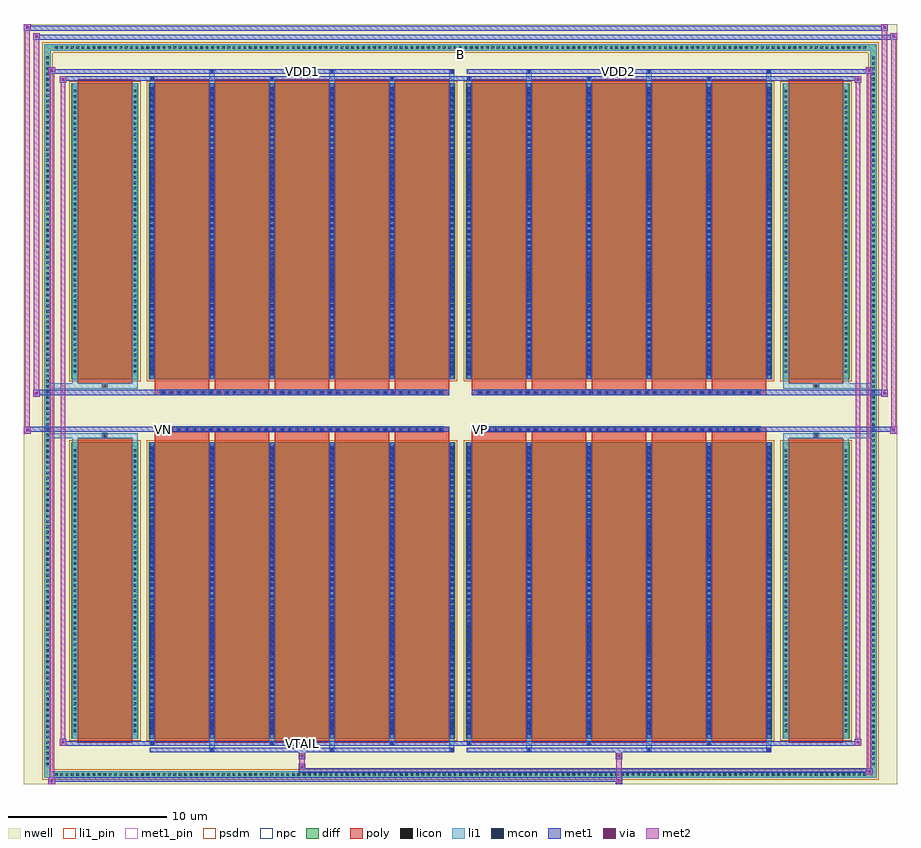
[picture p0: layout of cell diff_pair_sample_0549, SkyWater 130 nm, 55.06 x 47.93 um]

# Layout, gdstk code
import gdstk
lib = gdstk.Library(unit=1e-6, precision=5e-09)
def R(c, l, rs):  # rectangles x0, y0, x1, y1
    for r in rs: c.add(gdstk.rectangle(r[:2], r[2:], *l))
def A(c, l, x, y, w, h, nx, ny, dx, dy):  # array of equal rectangles
    R(c, l, [(x+i*dx, y+j*dy, x+i*dx+w, y+j*dy+h) for i in range(nx) for j in range(ny)])
def P(c, l, *ps):  # polygons
    for p in ps: c.add(gdstk.Polygon(p, *l))
nwell = (64, 20)
diff = (65, 20)
poly = (66, 20)
licon = (66, 44)
li1_pin = (67, 16)
li1 = (67, 20)
mcon = (67, 44)
met1_pin = (68, 16)
met1 = (68, 20)
via = (68, 44)
met2 = (69, 20)
psdm = (94, 20)
npc = (95, 20)

diff_pair_sample_0549 = lib.new_cell('diff_pair_sample_0549')
R(diff_pair_sample_0549, nwell, [(-27.53,-23.53,27.53,24.4), (-24.85,-21.72,-0.01,-0.8), (0.01,-21.72,24.85,-0.8), (-24.85,0.8,-0.01,21.72), (0.01,0.8,24.85,21.72)])
A(diff_pair_sample_0549, diff, -25.705, -23.13, 0.41, 0.41, 151, 2, 0.34, 45.85)
A(diff_pair_sample_0549, diff, -26.26, -22.475, 0.41, 0.41, 1, 132, 0, 0.34)
A(diff_pair_sample_0549, diff, 25.85, -22.475, 0.41, 0.41, 1, 132, 0, 0.34)
R(diff_pair_sample_0549, diff, [(-25.705,-23.13,25.705,-22.72), (-26.26,-22.475,-25.85,22.475), (25.85,-22.475,26.26,22.475), (-24.54,-20.675,-20.31,-1.985), (-19.67,-20.675,-0.32,-1.985), (0.32,-20.675,19.67,-1.985), (20.31,-20.675,24.54,-1.985), (-24.54,1.985,-20.31,20.675), (-19.67,1.985,-0.32,20.675), (0.32,1.985,19.67,20.675), (20.31,1.985,24.54,20.675), (-25.705,22.72,25.705,23.13)])
P(diff_pair_sample_0549, diff, [(26.26,23.13),(-26.26,23.13),(-26.26,-22.72),(-25.85,-22.72),(-25.85,22.72),(25.85,22.72),(25.85,-22.72),(-25.85,-22.72),(-26.26,-22.72),(-26.26,-23.13),(26.26,-23.13)])
A(diff_pair_sample_0549, poly, -19.28, -20.925, 3.45, 19.19, 5, 2, 3.78, 22.66)
A(diff_pair_sample_0549, poly, 0.71, -20.925, 3.45, 19.19, 5, 2, 3.78, 22.66)
A(diff_pair_sample_0549, poly, -19.28, -1.735, 3.45, 0.405, 5, 2, 3.78, 3.065)
A(diff_pair_sample_0549, poly, 0.71, -1.735, 3.45, 0.405, 5, 2, 3.78, 3.065)
A(diff_pair_sample_0549, poly, -18.91, -1.33, 0.33, 0.33, 36, 2, 0.5, 2.33)
A(diff_pair_sample_0549, poly, 1.08, -1.33, 0.33, 0.33, 36, 2, 0.5, 2.33)
R(diff_pair_sample_0549, poly, [(-24.15,-20.925,-20.7,-1.735), (20.7,-20.925,24.15,-1.735), (-22.59,-1.735,-22.26,-1.405), (-22.59,-1.735,-22.26,-1.405), (22.26,-1.735,22.59,-1.405), (22.26,-1.735,22.59,-1.405), (-19.28,-1.33,-0.71,-1), (0.71,-1.33,19.28,-1), (-19.28,1,-0.71,1.33), (0.71,1,19.28,1.33), (-22.59,1.405,-22.26,1.735), (-22.59,1.405,-22.26,1.735), (22.26,1.405,22.59,1.735), (22.26,1.405,22.59,1.735), (-24.15,1.735,-20.7,20.925), (20.7,1.735,24.15,20.925)])
A(diff_pair_sample_0549, licon, -25.585, -23.01, 0.17, 0.17, 151, 2, 0.34, 45.85)
A(diff_pair_sample_0549, licon, -26.14, -22.355, 0.17, 0.17, 1, 132, 0, 0.34)
A(diff_pair_sample_0549, licon, 25.97, -22.355, 0.17, 0.17, 1, 132, 0, 0.34)
A(diff_pair_sample_0549, licon, -24.4, -20.255, 0.17, 0.17, 1, 53, 0, 0.34)
A(diff_pair_sample_0549, licon, -20.62, -20.255, 0.17, 0.17, 1, 53, 0, 0.34)
A(diff_pair_sample_0549, licon, -19.53, -20.255, 0.17, 0.17, 6, 53, 3.78, 0.34)
A(diff_pair_sample_0549, licon, 0.46, -20.255, 0.17, 0.17, 6, 53, 3.78, 0.34)
A(diff_pair_sample_0549, licon, 20.45, -20.255, 0.17, 0.17, 1, 53, 0, 0.34)
A(diff_pair_sample_0549, licon, 24.23, -20.255, 0.17, 0.17, 1, 53, 0, 0.34)
A(diff_pair_sample_0549, licon, -18.83, -1.25, 0.17, 0.17, 36, 2, 0.5, 2.33)
A(diff_pair_sample_0549, licon, 1.16, -1.25, 0.17, 0.17, 36, 2, 0.5, 2.33)
A(diff_pair_sample_0549, licon, -24.4, 2.405, 0.17, 0.17, 1, 53, 0, 0.34)
A(diff_pair_sample_0549, licon, -20.62, 2.405, 0.17, 0.17, 1, 53, 0, 0.34)
A(diff_pair_sample_0549, licon, -19.53, 2.405, 0.17, 0.17, 6, 53, 3.78, 0.34)
A(diff_pair_sample_0549, licon, 0.46, 2.405, 0.17, 0.17, 6, 53, 3.78, 0.34)
A(diff_pair_sample_0549, licon, 20.45, 2.405, 0.17, 0.17, 1, 53, 0, 0.34)
A(diff_pair_sample_0549, licon, 24.23, 2.405, 0.17, 0.17, 1, 53, 0, 0.34)
R(diff_pair_sample_0549, licon, [(-22.51,-1.655,-22.34,-1.485), (22.34,-1.655,22.51,-1.485), (-22.51,1.485,-22.34,1.655), (22.34,1.485,22.51,1.655)])
R(diff_pair_sample_0549, li1_pin, [(-0.25,22.22,0.25,22.72)])
A(diff_pair_sample_0549, li1, -25.665, -23.09, 0.33, 0.33, 151, 2, 0.34, 45.85)
A(diff_pair_sample_0549, li1, -26.22, -22.435, 0.33, 0.33, 1, 132, 0, 0.34)
A(diff_pair_sample_0549, li1, 25.89, -22.435, 0.33, 0.33, 1, 132, 0, 0.34)
A(diff_pair_sample_0549, li1, -15.83, -21.48, 0.33, 0.805, 3, 2, 7.56, 42.155)
A(diff_pair_sample_0549, li1, -15.75, -21.48, 0.17, 0.17, 3, 2, 7.56, 42.79)
A(diff_pair_sample_0549, li1, 4.16, -21.48, 0.33, 0.805, 3, 2, 7.56, 42.155)
A(diff_pair_sample_0549, li1, 4.24, -21.48, 0.17, 0.17, 3, 2, 7.56, 42.79)
A(diff_pair_sample_0549, li1, -19.61, -21.05, 0.33, 0.375, 3, 2, 7.56, 41.725)
A(diff_pair_sample_0549, li1, -19.53, -21.05, 0.17, 0.17, 3, 2, 7.56, 41.93)
A(diff_pair_sample_0549, li1, 0.38, -21.05, 0.33, 0.375, 3, 2, 7.56, 41.725)
A(diff_pair_sample_0549, li1, 0.46, -21.05, 0.17, 0.17, 3, 2, 7.56, 41.93)
A(diff_pair_sample_0549, li1, -19.61, -20.675, 0.33, 18.69, 6, 2, 3.78, 22.66)
A(diff_pair_sample_0549, li1, 0.38, -20.675, 0.33, 18.69, 6, 2, 3.78, 22.66)
A(diff_pair_sample_0549, li1, -19.53, -20.415, 0.17, 0.17, 6, 51, 3.78, 0.36)
A(diff_pair_sample_0549, li1, -19.53, -20.415, 0.17, 18.17, 6, 2, 3.78, 22.66)
A(diff_pair_sample_0549, li1, 0.46, -20.415, 0.17, 0.17, 6, 51, 3.78, 0.36)
A(diff_pair_sample_0549, li1, 0.46, -20.415, 0.17, 18.17, 6, 2, 3.78, 22.66)
A(diff_pair_sample_0549, li1, -24.48, -20.335, 0.33, 0.33, 1, 53, 0, 0.34)
A(diff_pair_sample_0549, li1, -20.7, -20.335, 0.33, 0.33, 1, 53, 0, 0.34)
A(diff_pair_sample_0549, li1, -19.61, -20.335, 0.33, 0.33, 6, 53, 3.78, 0.34)
A(diff_pair_sample_0549, li1, 0.38, -20.335, 0.33, 0.33, 6, 53, 3.78, 0.34)
A(diff_pair_sample_0549, li1, 20.37, -20.335, 0.33, 0.33, 1, 53, 0, 0.34)
A(diff_pair_sample_0549, li1, 24.15, -20.335, 0.33, 0.33, 1, 53, 0, 0.34)
A(diff_pair_sample_0549, li1, -18.91, -1.33, 0.33, 0.33, 36, 2, 0.5, 2.33)
A(diff_pair_sample_0549, li1, 1.08, -1.33, 0.33, 0.33, 36, 2, 0.5, 2.33)
A(diff_pair_sample_0549, li1, -19.53, 2.245, 0.17, 0.17, 6, 51, 3.78, 0.36)
A(diff_pair_sample_0549, li1, 0.46, 2.245, 0.17, 0.17, 6, 51, 3.78, 0.36)
A(diff_pair_sample_0549, li1, -24.48, 2.325, 0.33, 0.33, 1, 53, 0, 0.34)
A(diff_pair_sample_0549, li1, -20.7, 2.325, 0.33, 0.33, 1, 53, 0, 0.34)
A(diff_pair_sample_0549, li1, -19.61, 2.325, 0.33, 0.33, 6, 53, 3.78, 0.34)
A(diff_pair_sample_0549, li1, 0.38, 2.325, 0.33, 0.33, 6, 53, 3.78, 0.34)
A(diff_pair_sample_0549, li1, 20.37, 2.325, 0.33, 0.33, 1, 53, 0, 0.34)
A(diff_pair_sample_0549, li1, 24.15, 2.325, 0.33, 0.33, 1, 53, 0, 0.34)
R(diff_pair_sample_0549, li1, [(-26.26,-23.13,-25.85,-22.72), (-26.26,-23.13,-25.85,-22.72), (-25.85,-23.13,25.85,-22.72), (25.85,-23.13,26.26,-22.72), (25.85,-23.13,26.26,-22.72), (-26.26,-22.72,-25.85,22.72), (25.85,-22.72,26.26,22.72), (-24.48,-20.675,-24.15,-1.985), (-20.7,-20.675,-20.37,-1.985), (20.37,-20.675,20.7,-1.985), (24.15,-20.675,24.48,-1.985), (-24.48,-1.985,-24.15,-1.405), (-20.7,-1.985,-20.37,-1.405), (20.37,-1.985,20.7,-1.405), (24.15,-1.985,24.48,-1.405), (-26.26,-1.735,-22.59,-1.405), (-24.48,-1.735,-22.59,-1.405), (-22.59,-1.735,-22.26,-1.405), (-22.26,-1.735,-20.37,-1.405), (20.37,-1.735,22.26,-1.405), (22.26,-1.735,22.59,-1.405), (22.26,-1.735,26.26,-1.405), (22.59,-1.735,24.48,-1.405), (-26.26,1.405,-22.59,1.735), (-24.48,1.405,-22.59,1.735), (-24.48,1.405,-24.15,1.985), (-22.59,1.405,-22.26,1.735), (-22.26,1.405,-20.37,1.735), (-20.7,1.405,-20.37,1.985), (20.37,1.405,22.26,1.735), (20.37,1.405,20.7,1.985), (22.26,1.405,22.59,1.735), (22.26,1.405,26.26,1.735), (22.59,1.405,24.48,1.735), (24.15,1.405,24.48,1.985), (-24.48,1.985,-24.15,20.675), (-20.7,1.985,-20.37,20.675), (20.37,1.985,20.7,20.675), (24.15,1.985,24.48,20.675), (-26.26,22.72,-25.85,23.13), (-26.26,22.72,-25.85,23.13), (-25.85,22.72,25.85,23.13), (25.85,22.72,26.26,23.13), (25.85,22.72,26.26,23.13)])
A(diff_pair_sample_0549, mcon, -15.75, -21.48, 0.17, 0.17, 3, 2, 7.56, 42.79)
A(diff_pair_sample_0549, mcon, 4.24, -21.48, 0.17, 0.17, 3, 2, 7.56, 42.79)
A(diff_pair_sample_0549, mcon, -19.53, -21.05, 0.17, 0.17, 3, 2, 7.56, 41.93)
A(diff_pair_sample_0549, mcon, 0.46, -21.05, 0.17, 0.17, 3, 2, 7.56, 41.93)
A(diff_pair_sample_0549, mcon, -19.53, -20.415, 0.17, 0.17, 6, 51, 3.78, 0.36)
A(diff_pair_sample_0549, mcon, 0.46, -20.415, 0.17, 0.17, 6, 51, 3.78, 0.36)
A(diff_pair_sample_0549, mcon, -18.83, -1.25, 0.17, 0.17, 36, 2, 0.5, 2.33)
A(diff_pair_sample_0549, mcon, 1.16, -1.25, 0.17, 0.17, 36, 2, 0.5, 2.33)
A(diff_pair_sample_0549, mcon, -19.53, 2.245, 0.17, 0.17, 6, 51, 3.78, 0.36)
A(diff_pair_sample_0549, mcon, 0.46, 2.245, 0.17, 0.17, 6, 51, 3.78, 0.36)
R(diff_pair_sample_0549, met1_pin, [(-10.13,-21.09,-9.86,-20.82), (-18.88,-1.29,-18.61,-1.02), (1.11,-1.29,1.38,-1.02), (-10.13,21.27,-9.86,21.54), (9.86,21.27,10.13,21.54)])
A(diff_pair_sample_0549, met1, -15.81, -21.54, 0.29, 0.29, 3, 2, 7.56, 42.79)
A(diff_pair_sample_0549, met1, 4.18, -21.54, 0.29, 0.29, 3, 2, 7.56, 42.79)
A(diff_pair_sample_0549, met1, -19.59, -21.11, 0.29, 0.29, 3, 2, 7.56, 41.93)
A(diff_pair_sample_0549, met1, 0.4, -21.11, 0.29, 0.29, 3, 2, 7.56, 41.93)
A(diff_pair_sample_0549, met1, -19.59, -20.675, 0.29, 18.69, 6, 2, 3.78, 22.66)
A(diff_pair_sample_0549, met1, 0.4, -20.675, 0.29, 18.69, 6, 2, 3.78, 22.66)
A(diff_pair_sample_0549, met1, -19.59, -20.475, 0.29, 0.29, 6, 51, 3.78, 0.36)
A(diff_pair_sample_0549, met1, 0.4, -20.475, 0.29, 0.29, 6, 51, 3.78, 0.36)
A(diff_pair_sample_0549, met1, -18.89, -1.31, 0.29, 0.29, 36, 2, 0.5, 2.33)
A(diff_pair_sample_0549, met1, 1.1, -1.31, 0.29, 0.29, 36, 2, 0.5, 2.33)
A(diff_pair_sample_0549, met1, -19.59, 2.185, 0.29, 0.29, 6, 51, 3.78, 0.36)
A(diff_pair_sample_0549, met1, 0.4, 2.185, 0.29, 0.29, 6, 51, 3.78, 0.36)
R(diff_pair_sample_0549, met1, [(-25.99,-23.53,-25.56,-23.1), (9.78,-23.53,10.21,-23.1), (-25.99,-23.39,10.21,-23.1), (25.56,-22.96,25.99,-22.53), (-10.21,-22.82,25.99,-22.53), (-10.21,-22.68,-9.78,-22.25), (-10.21,-21.97,-9.78,-21.54), (9.78,-21.97,10.21,-21.54), (-19.59,-21.54,-0.4,-21.25), (0.4,-21.54,19.59,-21.25), (-25.28,-21.11,-24.85,-20.68), (-25.28,-21.11,-19.59,-20.82), (-19.59,-21.11,-0.4,-20.82), (-0.4,-21.11,0.4,-20.82), (0.4,-21.11,19.59,-20.82), (19.59,-21.11,25.28,-20.82), (24.85,-21.11,25.28,-20.68), (-27.53,-1.43,-27.1,-1), (27.1,-1.43,27.53,-1), (-27.53,-1.33,-0.71,-1), (-19.28,-1.33,-0.71,-1), (0.71,-1.33,19.28,-1), (0.71,-1.33,27.53,-1), (-26.96,0.9,-26.53,1.33), (26.53,0.9,26.96,1.33), (-26.96,1,-19.28,1.33), (-19.28,1,-0.71,1.33), (0.71,1,19.28,1.33), (19.28,1,26.96,1.33), (-25.28,20.68,-24.85,21.11), (24.85,20.68,25.28,21.11), (-25.28,20.82,-19.59,21.11), (-19.59,20.82,-0.4,21.11), (-0.4,20.82,0.4,21.11), (0.4,20.82,19.59,21.11), (19.59,20.82,25.28,21.11), (-25.99,21.25,-25.56,21.68), (-25.99,21.25,-19.59,21.54), (-19.59,21.25,-0.4,21.54), (0.4,21.25,19.59,21.54), (19.59,21.25,25.99,21.54), (25.56,21.25,25.99,21.68), (-26.96,23.4,-26.53,23.83), (-26.96,23.4,-24.85,23.73), (-24.85,23.4,24.85,23.73), (24.85,23.4,27.53,23.73), (27.1,23.4,27.53,23.83), (-27.53,23.97,-27.1,24.4), (-27.53,23.97,-24.85,24.3), (-24.85,23.97,24.85,24.3), (24.85,23.97,26.96,24.3), (26.53,23.97,26.96,24.4)])
R(diff_pair_sample_0549, via, [(-25.85,-23.39,-25.7,-23.24), (9.92,-23.39,10.07,-23.24), (25.7,-22.82,25.85,-22.67), (-10.07,-22.54,-9.92,-22.39), (-10.07,-21.83,-9.92,-21.68), (9.92,-21.83,10.07,-21.68), (-25.14,-20.97,-24.99,-20.82), (24.99,-20.97,25.14,-20.82), (-27.39,-1.29,-27.24,-1.14), (27.24,-1.29,27.39,-1.14), (-26.82,1.04,-26.67,1.19), (26.67,1.04,26.82,1.19), (-25.14,20.82,-24.99,20.97), (24.99,20.82,25.14,20.97), (-25.85,21.39,-25.7,21.54), (25.7,21.39,25.85,21.54), (-26.82,23.54,-26.67,23.69), (27.24,23.54,27.39,23.69), (-27.39,24.11,-27.24,24.26), (26.67,24.11,26.82,24.26)])
R(diff_pair_sample_0549, met2, [(-25.99,-23.53,-25.56,-23.1), (-25.92,-23.53,-25.63,21.68), (-25.63,-23.53,-25.56,-23.1), (-25.94,-23.48,-25.61,-23.15), (9.83,-23.48,10.16,-23.15), (9.83,-23.15,10.16,-21.92), (25.56,-22.96,25.99,-22.53), (25.63,-22.96,25.92,21.68), (25.92,-22.96,25.99,-22.53), (25.61,-22.91,25.94,-22.58), (-10.16,-22.63,-9.83,-22.3), (-10.16,-22.3,-9.83,-21.92), (-10.16,-21.92,-9.83,-21.59), (9.83,-21.92,10.16,-21.59), (-25.28,-21.11,-24.85,-20.68), (-25.21,-21.11,-24.92,21.11), (-24.92,-21.11,-24.85,-20.68), (24.85,-21.11,25.28,-20.68), (24.92,-21.11,25.21,21.11), (25.21,-21.11,25.28,-20.68), (-25.23,-21.06,-24.9,-20.73), (24.9,-21.06,25.23,-20.73), (-27.53,-1.43,-27.1,-1), (-27.48,-1.43,-27.15,24.4), (-27.15,-1.43,-27.1,-1), (27.1,-1.43,27.53,-1), (27.15,-1.43,27.48,23.83), (27.48,-1.43,27.53,-1), (-27.48,-1.38,-27.15,-1.05), (27.15,-1.38,27.48,-1.05), (-26.96,0.9,-26.53,1.33), (-26.91,0.9,-26.58,23.83), (-26.58,0.9,-26.53,1.33), (26.53,0.9,26.96,1.33), (26.58,0.9,26.91,24.4), (26.91,0.9,26.96,1.33), (-26.91,0.95,-26.58,1.28), (26.58,0.95,26.91,1.28), (-25.28,20.68,-24.85,21.11), (-24.92,20.68,-24.85,21.11), (24.85,20.68,25.28,21.11), (25.21,20.68,25.28,21.11), (-25.23,20.73,-24.9,21.06), (24.9,20.73,25.23,21.06), (-25.99,21.25,-25.56,21.68), (-25.63,21.25,-25.56,21.68), (25.56,21.25,25.99,21.68), (25.92,21.25,25.99,21.68), (-25.94,21.3,-25.61,21.63), (25.61,21.3,25.94,21.63), (-26.96,23.4,-26.53,23.83), (-26.58,23.4,-26.53,23.83), (27.1,23.4,27.53,23.83), (27.48,23.4,27.53,23.83), (-26.91,23.45,-26.58,23.78), (27.15,23.45,27.48,23.78), (-27.53,23.97,-27.1,24.4), (-27.15,23.97,-27.1,24.4), (26.53,23.97,26.96,24.4), (26.91,23.97,26.96,24.4), (-27.48,24.02,-27.15,24.35), (26.58,24.02,26.91,24.35)])
R(diff_pair_sample_0549, psdm, [(-24.67,-20.805,-20.18,-1.855), (-19.8,-20.805,-0.19,-1.855), (0.19,-20.805,19.8,-1.855), (20.18,-20.805,24.67,-1.855), (-24.67,1.855,-20.18,20.805), (-19.8,1.855,-0.19,20.805), (0.19,1.855,19.8,20.805), (20.18,1.855,24.67,20.805)])
P(diff_pair_sample_0549, psdm, [(26.39,23.26),(-26.39,23.26),(-26.39,-22.59),(-25.72,-22.59),(-25.72,22.59),(25.72,22.59),(25.72,-22.59),(-25.72,-22.59),(-26.39,-22.59),(-26.39,-23.26),(26.39,-23.26)])
A(diff_pair_sample_0549, npc, -18.93, -1.35, 0.37, 0.37, 36, 2, 0.5, 2.33)
A(diff_pair_sample_0549, npc, 1.06, -1.35, 0.37, 0.37, 36, 2, 0.5, 2.33)
R(diff_pair_sample_0549, npc, [(-22.61,-1.755,-22.24,-1.385), (22.24,-1.755,22.61,-1.385), (-18.93,-1.35,-18.06,-0.98), (-18.93,-1.35,-18.06,-0.98), (-18.43,-1.35,-17.56,-0.98), (-18.43,-1.35,-17.56,-0.98), (-17.93,-1.35,-17.06,-0.98), (-17.93,-1.35,-17.06,-0.98), (-17.43,-1.35,-16.56,-0.98), (-17.43,-1.35,-16.56,-0.98), (-16.93,-1.35,-16.06,-0.98), (-16.93,-1.35,-16.06,-0.98), (-16.43,-1.35,-15.56,-0.98), (-16.43,-1.35,-15.56,-0.98), (-15.93,-1.35,-15.06,-0.98), (-15.93,-1.35,-15.06,-0.98), (-15.43,-1.35,-14.56,-0.98), (-15.43,-1.35,-14.56,-0.98), (-14.93,-1.35,-14.06,-0.98), (-14.93,-1.35,-14.06,-0.98), (-14.43,-1.35,-13.56,-0.98), (-14.43,-1.35,-13.56,-0.98), (-13.93,-1.35,-13.06,-0.98), (-13.93,-1.35,-13.06,-0.98), (-13.43,-1.35,-12.56,-0.98), (-13.43,-1.35,-12.56,-0.98), (-12.93,-1.35,-12.06,-0.98), (-12.93,-1.35,-12.06,-0.98), (-12.43,-1.35,-11.56,-0.98), (-12.43,-1.35,-11.56,-0.98), (-11.93,-1.35,-11.06,-0.98), (-11.93,-1.35,-11.06,-0.98), (-11.43,-1.35,-10.56,-0.98), (-11.43,-1.35,-10.56,-0.98), (-10.93,-1.35,-10.06,-0.98), (-10.93,-1.35,-10.06,-0.98), (-10.43,-1.35,-9.56,-0.98), (-10.43,-1.35,-9.56,-0.98), (-9.93,-1.35,-9.06,-0.98), (-9.93,-1.35,-9.06,-0.98), (-9.43,-1.35,-8.56,-0.98), (-9.43,-1.35,-8.56,-0.98), (-8.93,-1.35,-8.06,-0.98), (-8.93,-1.35,-8.06,-0.98), (-8.43,-1.35,-7.56,-0.98), (-8.43,-1.35,-7.56,-0.98), (-7.93,-1.35,-7.06,-0.98), (-7.93,-1.35,-7.06,-0.98), (-7.43,-1.35,-6.56,-0.98), (-7.43,-1.35,-6.56,-0.98), (-6.93,-1.35,-6.06,-0.98), (-6.93,-1.35,-6.06,-0.98), (-6.43,-1.35,-5.56,-0.98), (-6.43,-1.35,-5.56,-0.98), (-5.93,-1.35,-5.06,-0.98), (-5.93,-1.35,-5.06,-0.98), (-5.43,-1.35,-4.56,-0.98), (-5.43,-1.35,-4.56,-0.98), (-4.93,-1.35,-4.06,-0.98), (-4.93,-1.35,-4.06,-0.98), (-4.43,-1.35,-3.56,-0.98), (-4.43,-1.35,-3.56,-0.98), (-3.93,-1.35,-3.06,-0.98), (-3.93,-1.35,-3.06,-0.98), (-3.43,-1.35,-2.56,-0.98), (-3.43,-1.35,-2.56,-0.98), (-2.93,-1.35,-2.06,-0.98), (-2.93,-1.35,-2.06,-0.98), (-2.43,-1.35,-1.56,-0.98), (-2.43,-1.35,-1.56,-0.98), (-1.93,-1.35,-1.06,-0.98), (-1.93,-1.35,-1.06,-0.98), (1.06,-1.35,1.93,-0.98), (1.06,-1.35,1.93,-0.98), (1.56,-1.35,2.43,-0.98), (1.56,-1.35,2.43,-0.98), (2.06,-1.35,2.93,-0.98), (2.06,-1.35,2.93,-0.98), (2.56,-1.35,3.43,-0.98), (2.56,-1.35,3.43,-0.98), (3.06,-1.35,3.93,-0.98), (3.06,-1.35,3.93,-0.98), (3.56,-1.35,4.43,-0.98), (3.56,-1.35,4.43,-0.98), (4.06,-1.35,4.93,-0.98), (4.06,-1.35,4.93,-0.98), (4.56,-1.35,5.43,-0.98), (4.56,-1.35,5.43,-0.98), (5.06,-1.35,5.93,-0.98), (5.06,-1.35,5.93,-0.98), (5.56,-1.35,6.43,-0.98), (5.56,-1.35,6.43,-0.98), (6.06,-1.35,6.93,-0.98), (6.06,-1.35,6.93,-0.98), (6.56,-1.35,7.43,-0.98), (6.56,-1.35,7.43,-0.98), (7.06,-1.35,7.93,-0.98), (7.06,-1.35,7.93,-0.98), (7.56,-1.35,8.43,-0.98), (7.56,-1.35,8.43,-0.98), (8.06,-1.35,8.93,-0.98), (8.06,-1.35,8.93,-0.98), (8.56,-1.35,9.43,-0.98), (8.56,-1.35,9.43,-0.98), (9.06,-1.35,9.93,-0.98), (9.06,-1.35,9.93,-0.98), (9.56,-1.35,10.43,-0.98), (9.56,-1.35,10.43,-0.98), (10.06,-1.35,10.93,-0.98), (10.06,-1.35,10.93,-0.98), (10.56,-1.35,11.43,-0.98), (10.56,-1.35,11.43,-0.98), (11.06,-1.35,11.93,-0.98), (11.06,-1.35,11.93,-0.98), (11.56,-1.35,12.43,-0.98), (11.56,-1.35,12.43,-0.98), (12.06,-1.35,12.93,-0.98), (12.06,-1.35,12.93,-0.98), (12.56,-1.35,13.43,-0.98), (12.56,-1.35,13.43,-0.98), (13.06,-1.35,13.93,-0.98), (13.06,-1.35,13.93,-0.98), (13.56,-1.35,14.43,-0.98), (13.56,-1.35,14.43,-0.98), (14.06,-1.35,14.93,-0.98), (14.06,-1.35,14.93,-0.98), (14.56,-1.35,15.43,-0.98), (14.56,-1.35,15.43,-0.98), (15.06,-1.35,15.93,-0.98), (15.06,-1.35,15.93,-0.98), (15.56,-1.35,16.43,-0.98), (15.56,-1.35,16.43,-0.98), (16.06,-1.35,16.93,-0.98), (16.06,-1.35,16.93,-0.98), (16.56,-1.35,17.43,-0.98), (16.56,-1.35,17.43,-0.98), (17.06,-1.35,17.93,-0.98), (17.06,-1.35,17.93,-0.98), (17.56,-1.35,18.43,-0.98), (17.56,-1.35,18.43,-0.98), (18.06,-1.35,18.93,-0.98), (18.06,-1.35,18.93,-0.98), (-18.93,0.98,-18.06,1.35), (-18.93,0.98,-18.06,1.35), (-18.43,0.98,-17.56,1.35), (-18.43,0.98,-17.56,1.35), (-17.93,0.98,-17.06,1.35), (-17.93,0.98,-17.06,1.35), (-17.43,0.98,-16.56,1.35), (-17.43,0.98,-16.56,1.35), (-16.93,0.98,-16.06,1.35), (-16.93,0.98,-16.06,1.35), (-16.43,0.98,-15.56,1.35), (-16.43,0.98,-15.56,1.35), (-15.93,0.98,-15.06,1.35), (-15.93,0.98,-15.06,1.35), (-15.43,0.98,-14.56,1.35), (-15.43,0.98,-14.56,1.35), (-14.93,0.98,-14.06,1.35), (-14.93,0.98,-14.06,1.35), (-14.43,0.98,-13.56,1.35), (-14.43,0.98,-13.56,1.35), (-13.93,0.98,-13.06,1.35), (-13.93,0.98,-13.06,1.35), (-13.43,0.98,-12.56,1.35), (-13.43,0.98,-12.56,1.35), (-12.93,0.98,-12.06,1.35), (-12.93,0.98,-12.06,1.35), (-12.43,0.98,-11.56,1.35), (-12.43,0.98,-11.56,1.35), (-11.93,0.98,-11.06,1.35), (-11.93,0.98,-11.06,1.35), (-11.43,0.98,-10.56,1.35), (-11.43,0.98,-10.56,1.35), (-10.93,0.98,-10.06,1.35), (-10.93,0.98,-10.06,1.35), (-10.43,0.98,-9.56,1.35), (-10.43,0.98,-9.56,1.35), (-9.93,0.98,-9.06,1.35), (-9.93,0.98,-9.06,1.35), (-9.43,0.98,-8.56,1.35), (-9.43,0.98,-8.56,1.35), (-8.93,0.98,-8.06,1.35), (-8.93,0.98,-8.06,1.35), (-8.43,0.98,-7.56,1.35), (-8.43,0.98,-7.56,1.35), (-7.93,0.98,-7.06,1.35), (-7.93,0.98,-7.06,1.35), (-7.43,0.98,-6.56,1.35), (-7.43,0.98,-6.56,1.35), (-6.93,0.98,-6.06,1.35), (-6.93,0.98,-6.06,1.35), (-6.43,0.98,-5.56,1.35), (-6.43,0.98,-5.56,1.35), (-5.93,0.98,-5.06,1.35), (-5.93,0.98,-5.06,1.35), (-5.43,0.98,-4.56,1.35), (-5.43,0.98,-4.56,1.35), (-4.93,0.98,-4.06,1.35), (-4.93,0.98,-4.06,1.35), (-4.43,0.98,-3.56,1.35), (-4.43,0.98,-3.56,1.35), (-3.93,0.98,-3.06,1.35), (-3.93,0.98,-3.06,1.35), (-3.43,0.98,-2.56,1.35), (-3.43,0.98,-2.56,1.35), (-2.93,0.98,-2.06,1.35), (-2.93,0.98,-2.06,1.35), (-2.43,0.98,-1.56,1.35), (-2.43,0.98,-1.56,1.35), (-1.93,0.98,-1.06,1.35), (-1.93,0.98,-1.06,1.35), (1.06,0.98,1.93,1.35), (1.06,0.98,1.93,1.35), (1.56,0.98,2.43,1.35), (1.56,0.98,2.43,1.35), (2.06,0.98,2.93,1.35), (2.06,0.98,2.93,1.35), (2.56,0.98,3.43,1.35), (2.56,0.98,3.43,1.35), (3.06,0.98,3.93,1.35), (3.06,0.98,3.93,1.35), (3.56,0.98,4.43,1.35), (3.56,0.98,4.43,1.35), (4.06,0.98,4.93,1.35), (4.06,0.98,4.93,1.35), (4.56,0.98,5.43,1.35), (4.56,0.98,5.43,1.35), (5.06,0.98,5.93,1.35), (5.06,0.98,5.93,1.35), (5.56,0.98,6.43,1.35), (5.56,0.98,6.43,1.35), (6.06,0.98,6.93,1.35), (6.06,0.98,6.93,1.35), (6.56,0.98,7.43,1.35), (6.56,0.98,7.43,1.35), (7.06,0.98,7.93,1.35), (7.06,0.98,7.93,1.35), (7.56,0.98,8.43,1.35), (7.56,0.98,8.43,1.35), (8.06,0.98,8.93,1.35), (8.06,0.98,8.93,1.35), (8.56,0.98,9.43,1.35), (8.56,0.98,9.43,1.35), (9.06,0.98,9.93,1.35), (9.06,0.98,9.93,1.35), (9.56,0.98,10.43,1.35), (9.56,0.98,10.43,1.35), (10.06,0.98,10.93,1.35), (10.06,0.98,10.93,1.35), (10.56,0.98,11.43,1.35), (10.56,0.98,11.43,1.35), (11.06,0.98,11.93,1.35), (11.06,0.98,11.93,1.35), (11.56,0.98,12.43,1.35), (11.56,0.98,12.43,1.35), (12.06,0.98,12.93,1.35), (12.06,0.98,12.93,1.35), (12.56,0.98,13.43,1.35), (12.56,0.98,13.43,1.35), (13.06,0.98,13.93,1.35), (13.06,0.98,13.93,1.35), (13.56,0.98,14.43,1.35), (13.56,0.98,14.43,1.35), (14.06,0.98,14.93,1.35), (14.06,0.98,14.93,1.35), (14.56,0.98,15.43,1.35), (14.56,0.98,15.43,1.35), (15.06,0.98,15.93,1.35), (15.06,0.98,15.93,1.35), (15.56,0.98,16.43,1.35), (15.56,0.98,16.43,1.35), (16.06,0.98,16.93,1.35), (16.06,0.98,16.93,1.35), (16.56,0.98,17.43,1.35), (16.56,0.98,17.43,1.35), (17.06,0.98,17.93,1.35), (17.06,0.98,17.93,1.35), (17.56,0.98,18.43,1.35), (17.56,0.98,18.43,1.35), (18.06,0.98,18.93,1.35), (18.06,0.98,18.93,1.35), (-22.61,1.385,-22.24,1.755), (22.24,1.385,22.61,1.755)])
diff_pair_sample_0549.add(gdstk.Label('VTAIL', (-9.995,-20.955), layer=68, texttype=5))
diff_pair_sample_0549.add(gdstk.Label('VN', (-18.745,-1.155), layer=68, texttype=5))
diff_pair_sample_0549.add(gdstk.Label('VP', (1.245,-1.155), layer=68, texttype=5))
diff_pair_sample_0549.add(gdstk.Label('B', (0,22.47), layer=67, texttype=5))
diff_pair_sample_0549.add(gdstk.Label('VDD2', (9.995,21.405), layer=68, texttype=5))
diff_pair_sample_0549.add(gdstk.Label('VDD1', (-9.995,21.405), layer=68, texttype=5))

lib.write_gds('diff_pair_sample_0549.gds')
